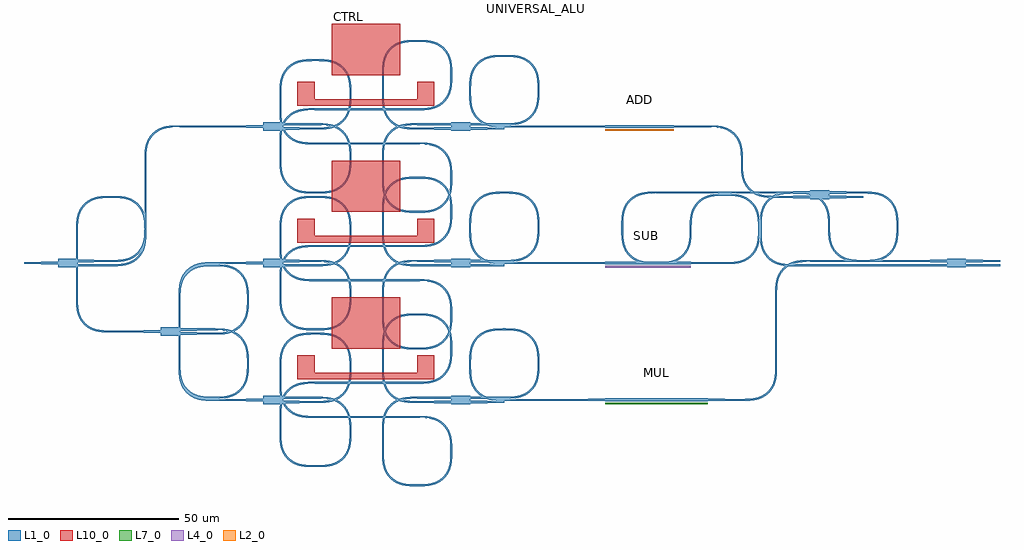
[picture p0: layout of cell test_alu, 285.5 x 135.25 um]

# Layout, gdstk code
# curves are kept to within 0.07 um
from math import pi, radians
import gdstk
lib = gdstk.Library(unit=1e-6, precision=1e-09)
def R(c, l, rs):  # rectangles x0, y0, x1, y1
    for r in rs: c.add(gdstk.rectangle(r[:2], r[2:], *l))
def A(c, l, x, y, w, h, nx, ny, dx, dy):  # array of equal rectangles
    R(c, l, [(x+i*dx, y+j*dy, x+i*dx+w, y+j*dy+h) for i in range(nx) for j in range(ny)])
def P(c, l, *ps):  # polygons
    for p in ps: c.add(gdstk.Polygon(p, *l))
L1_0 = (1, 0)
L2_0 = (2, 0)
L4_0 = (4, 0)
L7_0 = (7, 0)
L10_0 = (10, 0)

mmi1x2_gdsfactorypcompon = lib.new_cell('mmi1x2_gdsfactorypcomponentspmmispmmi1x2_WNone_WT1_LT10_1f097353')
P(mmi1x2_gdsfactorypcompon, L1_0, [(0,-1.25),(0,-0.5),(-10,-0.25),(-10,0.25),(0,0.5),(0,1.25),(5.5,1.25),(5.5,1.125),(15.5,0.875),(15.5,0.375),(5.5,0.125),(5.5,-0.125),(15.5,-0.375),(15.5,-0.875),(5.5,-1.125),(5.5,-1.25)])

straight_gdsfactorypcomp = lib.new_cell('straight_gdsfactorypcomponentspwaveguidespstraight_L30__23ab0482')
R(straight_gdsfactorypcomp, L1_0, [(0,-0.25,30,0.25)])

mmi2x2_gdsfactorypcompon = lib.new_cell('mmi2x2_gdsfactorypcomponentspmmispmmi2x2_WNone_WT1_LT10_d84946bc')
P(mmi2x2_gdsfactorypcompon, L1_0, [(0,-1.25),(0,-1.125),(-10,-0.875),(-10,-0.375),(0,-0.125),(0,0.125),(-10,0.375),(-10,0.875),(0,1.125),(0,1.25),(5.5,1.25),(5.5,1.125),(15.5,0.875),(15.5,0.375),(5.5,0.125),(5.5,-0.125),(15.5,-0.375),(15.5,-0.875),(5.5,-1.125),(5.5,-1.25)])

bend_euler_gdsfactorypco = lib.new_cell('bend_euler_gdsfactorypcomponentspbendspbend_euler_R10_A_335c8724')
P(bend_euler_gdsfactorypco, L1_0, [(0,-0.25),(0,0.25),(2.881,0.353),(3.952,0.52),(4.99,0.806),(6.431,1.505),(7.575,2.425),(8.495,3.569),(9.194,5.01),(9.48,6.048),(9.647,7.119),(9.75,10),(10.25,10),(10.158,7.205),(9.797,5.254),(9.457,4.312),(9.066,3.545),(8.5,2.715),(7.928,2.072),(7.285,1.5),(6.455,0.934),(5.688,0.543),(4.746,0.203),(2.795,-0.158)])

c_straight_gdsfactorypcomp = lib.new_cell('straight_gdsfactorypcomponentspwaveguidespstraight_L0p5_446aefb6')
R(c_straight_gdsfactorypcomp, L1_0, [(0,-0.25,0.5,0.25)])

c_straight_gdsfactorypcomp_ = lib.new_cell('straight_gdsfactorypcomponentspwaveguidespstraight_L4p3_94881c7f')
R(c_straight_gdsfactorypcomp_, L1_0, [(0,-0.25,4.375,0.25)])

c_straight_gdsfactorypcomp__ = lib.new_cell('straight_gdsfactorypcomponentspwaveguidespstraight_L5p6_c0f6b6dc')
R(c_straight_gdsfactorypcomp__, L1_0, [(0,-0.25,5.625,0.25)])

mzi_add = lib.new_cell('mzi_add')
R(mzi_add, L10_0, [(10,6,15,13), (15,6,45,8), (45,6,50,13)])
mzi_add.add(gdstk.Reference(mmi1x2_gdsfactorypcompon, (0,0)))
mzi_add.add(gdstk.Reference(straight_gdsfactorypcomp, (15,5)))
mzi_add.add(gdstk.Reference(straight_gdsfactorypcomp, (15,-5)))
mzi_add.add(gdstk.Reference(mmi2x2_gdsfactorypcompon, (55,0)))
mzi_add.add(gdstk.Reference(bend_euler_gdsfactorypco, (25.5,-9.375), rotation=pi/2))
mzi_add.add(gdstk.Reference(bend_euler_gdsfactorypco, (15.5,-19.375)))
mzi_add.add(gdstk.Reference(bend_euler_gdsfactorypco, (5,-9.375), rotation=3*pi/2))
mzi_add.add(gdstk.Reference(c_straight_gdsfactorypcomp, (15.5,-19.375), rotation=pi))
mzi_add.add(gdstk.Reference(bend_euler_gdsfactorypco, (15,5), rotation=pi))
mzi_add.add(gdstk.Reference(c_straight_gdsfactorypcomp_, (5,-9.375), rotation=pi/2))
mzi_add.add(gdstk.Reference(bend_euler_gdsfactorypco, (25.5,9.375), rotation=3*pi/2, x_reflection=True))
mzi_add.add(gdstk.Reference(bend_euler_gdsfactorypco, (15.5,19.375), x_reflection=True))
mzi_add.add(gdstk.Reference(bend_euler_gdsfactorypco, (5,9.375), rotation=pi/2, x_reflection=True))
mzi_add.add(gdstk.Reference(c_straight_gdsfactorypcomp, (15.5,19.375), rotation=pi))
mzi_add.add(gdstk.Reference(bend_euler_gdsfactorypco, (15,-5), rotation=pi, x_reflection=True))
mzi_add.add(gdstk.Reference(c_straight_gdsfactorypcomp_, (5,9.375), rotation=3*pi/2))
mzi_add.add(gdstk.Reference(bend_euler_gdsfactorypco, (55,15), rotation=3*pi/2, x_reflection=True))
mzi_add.add(gdstk.Reference(bend_euler_gdsfactorypco, (45,25), x_reflection=True))
mzi_add.add(gdstk.Reference(bend_euler_gdsfactorypco, (35,15), rotation=pi/2, x_reflection=True))
mzi_add.add(gdstk.Reference(bend_euler_gdsfactorypco, (45,-0.625), rotation=pi, x_reflection=True))
mzi_add.add(gdstk.Reference(c_straight_gdsfactorypcomp__, (35,15), rotation=3*pi/2))
mzi_add.add(gdstk.Reference(bend_euler_gdsfactorypco, (55,-15), rotation=pi/2))
mzi_add.add(gdstk.Reference(bend_euler_gdsfactorypco, (45,-25)))
mzi_add.add(gdstk.Reference(bend_euler_gdsfactorypco, (35,-15), rotation=3*pi/2))
mzi_add.add(gdstk.Reference(bend_euler_gdsfactorypco, (45,0.625), rotation=pi))
mzi_add.add(gdstk.Reference(c_straight_gdsfactorypcomp__, (35,-15), rotation=pi/2))
mzi_add.add(gdstk.Label('MZI', (25,15), layer=100, texttype=0))
mzi_add.add(gdstk.Label('HTR', (30,10), layer=100, texttype=0))

mzi_sub = lib.new_cell('mzi_sub')
R(mzi_sub, L10_0, [(10,6,15,13), (15,6,45,8), (45,6,50,13)])
mzi_sub.add(gdstk.Reference(mmi1x2_gdsfactorypcompon, (0,0)))
mzi_sub.add(gdstk.Reference(straight_gdsfactorypcomp, (15,5)))
mzi_sub.add(gdstk.Reference(straight_gdsfactorypcomp, (15,-5)))
mzi_sub.add(gdstk.Reference(mmi2x2_gdsfactorypcompon, (55,0)))
mzi_sub.add(gdstk.Reference(bend_euler_gdsfactorypco, (25.5,-9.375), rotation=pi/2))
mzi_sub.add(gdstk.Reference(bend_euler_gdsfactorypco, (15.5,-19.375)))
mzi_sub.add(gdstk.Reference(bend_euler_gdsfactorypco, (5,-9.375), rotation=3*pi/2))
mzi_sub.add(gdstk.Reference(c_straight_gdsfactorypcomp, (15.5,-19.375), rotation=pi))
mzi_sub.add(gdstk.Reference(bend_euler_gdsfactorypco, (15,5), rotation=pi))
mzi_sub.add(gdstk.Reference(c_straight_gdsfactorypcomp_, (5,-9.375), rotation=pi/2))
mzi_sub.add(gdstk.Reference(bend_euler_gdsfactorypco, (25.5,9.375), rotation=3*pi/2, x_reflection=True))
mzi_sub.add(gdstk.Reference(bend_euler_gdsfactorypco, (15.5,19.375), x_reflection=True))
mzi_sub.add(gdstk.Reference(bend_euler_gdsfactorypco, (5,9.375), rotation=pi/2, x_reflection=True))
mzi_sub.add(gdstk.Reference(c_straight_gdsfactorypcomp, (15.5,19.375), rotation=pi))
mzi_sub.add(gdstk.Reference(bend_euler_gdsfactorypco, (15,-5), rotation=pi, x_reflection=True))
mzi_sub.add(gdstk.Reference(c_straight_gdsfactorypcomp_, (5,9.375), rotation=3*pi/2))
mzi_sub.add(gdstk.Reference(bend_euler_gdsfactorypco, (55,15), rotation=3*pi/2, x_reflection=True))
mzi_sub.add(gdstk.Reference(bend_euler_gdsfactorypco, (45,25), x_reflection=True))
mzi_sub.add(gdstk.Reference(bend_euler_gdsfactorypco, (35,15), rotation=pi/2, x_reflection=True))
mzi_sub.add(gdstk.Reference(bend_euler_gdsfactorypco, (45,-0.625), rotation=pi, x_reflection=True))
mzi_sub.add(gdstk.Reference(c_straight_gdsfactorypcomp__, (35,15), rotation=3*pi/2))
mzi_sub.add(gdstk.Reference(bend_euler_gdsfactorypco, (55,-15), rotation=pi/2))
mzi_sub.add(gdstk.Reference(bend_euler_gdsfactorypco, (45,-25)))
mzi_sub.add(gdstk.Reference(bend_euler_gdsfactorypco, (35,-15), rotation=3*pi/2))
mzi_sub.add(gdstk.Reference(bend_euler_gdsfactorypco, (45,0.625), rotation=pi))
mzi_sub.add(gdstk.Reference(c_straight_gdsfactorypcomp__, (35,-15), rotation=pi/2))
mzi_sub.add(gdstk.Label('MZI', (25,15), layer=100, texttype=0))
mzi_sub.add(gdstk.Label('HTR', (30,10), layer=100, texttype=0))

mzi_mul = lib.new_cell('mzi_mul')
R(mzi_mul, L10_0, [(10,6,15,13), (15,6,45,8), (45,6,50,13)])
mzi_mul.add(gdstk.Reference(mmi1x2_gdsfactorypcompon, (0,0)))
mzi_mul.add(gdstk.Reference(straight_gdsfactorypcomp, (15,5)))
mzi_mul.add(gdstk.Reference(straight_gdsfactorypcomp, (15,-5)))
mzi_mul.add(gdstk.Reference(mmi2x2_gdsfactorypcompon, (55,0)))
mzi_mul.add(gdstk.Reference(bend_euler_gdsfactorypco, (25.5,-9.375), rotation=pi/2))
mzi_mul.add(gdstk.Reference(bend_euler_gdsfactorypco, (15.5,-19.375)))
mzi_mul.add(gdstk.Reference(bend_euler_gdsfactorypco, (5,-9.375), rotation=3*pi/2))
mzi_mul.add(gdstk.Reference(c_straight_gdsfactorypcomp, (15.5,-19.375), rotation=pi))
mzi_mul.add(gdstk.Reference(bend_euler_gdsfactorypco, (15,5), rotation=pi))
mzi_mul.add(gdstk.Reference(c_straight_gdsfactorypcomp_, (5,-9.375), rotation=pi/2))
mzi_mul.add(gdstk.Reference(bend_euler_gdsfactorypco, (25.5,9.375), rotation=3*pi/2, x_reflection=True))
mzi_mul.add(gdstk.Reference(bend_euler_gdsfactorypco, (15.5,19.375), x_reflection=True))
mzi_mul.add(gdstk.Reference(bend_euler_gdsfactorypco, (5,9.375), rotation=pi/2, x_reflection=True))
mzi_mul.add(gdstk.Reference(c_straight_gdsfactorypcomp, (15.5,19.375), rotation=pi))
mzi_mul.add(gdstk.Reference(bend_euler_gdsfactorypco, (15,-5), rotation=pi, x_reflection=True))
mzi_mul.add(gdstk.Reference(c_straight_gdsfactorypcomp_, (5,9.375), rotation=3*pi/2))
mzi_mul.add(gdstk.Reference(bend_euler_gdsfactorypco, (55,15), rotation=3*pi/2, x_reflection=True))
mzi_mul.add(gdstk.Reference(bend_euler_gdsfactorypco, (45,25), x_reflection=True))
mzi_mul.add(gdstk.Reference(bend_euler_gdsfactorypco, (35,15), rotation=pi/2, x_reflection=True))
mzi_mul.add(gdstk.Reference(bend_euler_gdsfactorypco, (45,-0.625), rotation=pi, x_reflection=True))
mzi_mul.add(gdstk.Reference(c_straight_gdsfactorypcomp__, (35,15), rotation=3*pi/2))
mzi_mul.add(gdstk.Reference(bend_euler_gdsfactorypco, (55,-15), rotation=pi/2))
mzi_mul.add(gdstk.Reference(bend_euler_gdsfactorypco, (45,-25)))
mzi_mul.add(gdstk.Reference(bend_euler_gdsfactorypco, (35,-15), rotation=3*pi/2))
mzi_mul.add(gdstk.Reference(bend_euler_gdsfactorypco, (45,0.625), rotation=pi))
mzi_mul.add(gdstk.Reference(c_straight_gdsfactorypcomp__, (35,-15), rotation=pi/2))
mzi_mul.add(gdstk.Label('MZI', (25,15), layer=100, texttype=0))
mzi_mul.add(gdstk.Label('HTR', (30,10), layer=100, texttype=0))

c_straight_gdsfactorypcomp___ = lib.new_cell('straight_gdsfactorypcomponentspwaveguidespstraight_L20__67db74ca')
R(c_straight_gdsfactorypcomp___, L1_0, [(0,-0.4,20,0.4)])

sfg_add = lib.new_cell('sfg_add')
R(sfg_add, L2_0, [(0,-1.3,20,-0.8)])
sfg_add.add(gdstk.Reference(c_straight_gdsfactorypcomp___, (0,0)))
sfg_add.add(gdstk.Label('SFG', (10,-1.8), layer=100, texttype=0))

taper_gdsfactorypcompone = lib.new_cell('taper_gdsfactorypcomponentsptapersptaper_L10_W0p8_W0p5__da63ba57')
P(taper_gdsfactorypcompone, L1_0, [(0,-0.4),(0,0.4),(10,0.25),(10,-0.25)])

c_straight_gdsfactorypcomp____ = lib.new_cell('straight_gdsfactorypcomponentspwaveguidespstraight_L25__b8ee21e9')
R(c_straight_gdsfactorypcomp____, L1_0, [(0,-0.4,25,0.4)])

dfg_sub = lib.new_cell('dfg_sub')
R(dfg_sub, L4_0, [(0,-1.3,25,-0.8)])
dfg_sub.add(gdstk.Reference(c_straight_gdsfactorypcomp____, (0,0)))
dfg_sub.add(gdstk.Label('DFG', (12.5,-1.8), layer=100, texttype=0))

c_straight_gdsfactorypcomp_____ = lib.new_cell('straight_gdsfactorypcomponentspwaveguidespstraight_L30__ad10009a')
R(c_straight_gdsfactorypcomp_____, L1_0, [(0,-0.4,30,0.4)])

mul_mul = lib.new_cell('mul_mul')
R(mul_mul, L7_0, [(0,-1.3,30,-0.8)])
mul_mul.add(gdstk.Reference(c_straight_gdsfactorypcomp_____, (0,0)))
mul_mul.add(gdstk.Label('MUL', (15,-1.8), layer=100, texttype=0))

c_straight_gdsfactorypcomp______ = lib.new_cell('straight_gdsfactorypcomponentspwaveguidespstraight_L19p_8f351695')
R(c_straight_gdsfactorypcomp______, L1_0, [(0,-0.25,19.375,0.25)])

c_straight_gdsfactorypcomp_______ = lib.new_cell('straight_gdsfactorypcomponentspwaveguidespstraight_L4p5_be343a92')
R(c_straight_gdsfactorypcomp_______, L1_0, [(0,-0.25,4.5,0.25)])

c_straight_gdsfactorypcomp________ = lib.new_cell('straight_gdsfactorypcomponentspwaveguidespstraight_L14p_2ca56a52')
R(c_straight_gdsfactorypcomp________, L1_0, [(0,-0.25,14.5,0.25)])

c_straight_gdsfactorypcomp_________ = lib.new_cell('straight_gdsfactorypcomponentspwaveguidespstraight_L0p6_2a917248')
R(c_straight_gdsfactorypcomp_________, L1_0, [(0,-0.25,0.625,0.25)])

c_straight_gdsfactorypcomp__________ = lib.new_cell('straight_gdsfactorypcomponentspwaveguidespstraight_L19p_57e45757')
R(c_straight_gdsfactorypcomp__________, L1_0, [(0,-0.25,19.5,0.25)])

c_straight_gdsfactorypcomp___________ = lib.new_cell('straight_gdsfactorypcomponentspwaveguidespstraight_L35__2ffcf6d2')
R(c_straight_gdsfactorypcomp___________, L1_0, [(0,-0.25,35,0.25)])

c_straight_gdsfactorypcomp____________ = lib.new_cell('straight_gdsfactorypcomponentspwaveguidespstraight_L1p2_b215014a')
R(c_straight_gdsfactorypcomp____________, L1_0, [(0,-0.25,1.25,0.25)])

c_straight_gdsfactorypcomp_____________ = lib.new_cell('straight_gdsfactorypcomponentspwaveguidespstraight_L34p_65582a3e')
R(c_straight_gdsfactorypcomp_____________, L1_0, [(0,-0.25,34.5,0.25)])

c_straight_gdsfactorypcomp______________ = lib.new_cell('straight_gdsfactorypcomponentspwaveguidespstraight_L20p_7ec75a42')
R(c_straight_gdsfactorypcomp______________, L1_0, [(0,-0.25,20.625,0.25)])

c_straight_gdsfactorypcomp_______________ = lib.new_cell('straight_gdsfactorypcomponentspwaveguidespstraight_L30__a17b4e39')
R(c_straight_gdsfactorypcomp_______________, L1_0, [(0,-0.25,30,0.25)])

test_alu = lib.new_cell('test_alu')
A(test_alu, L10_0, 80, -25, 20, 15, 1, 3, 0, 40)
test_alu.add(gdstk.Reference(mmi1x2_gdsfactorypcompon, (0,0)))
test_alu.add(gdstk.Reference(mmi1x2_gdsfactorypcompon, (30,-20)))
test_alu.add(gdstk.Reference(mzi_add, (60,40)))
test_alu.add(gdstk.Reference(mzi_sub, (60,0)))
test_alu.add(gdstk.Reference(mzi_mul, (60,-40)))
test_alu.add(gdstk.Reference(sfg_add, (160,40)))
test_alu.add(gdstk.Reference(taper_gdsfactorypcompone, (160,40), rotation=pi))
test_alu.add(gdstk.Reference(dfg_sub, (160,0)))
test_alu.add(gdstk.Reference(taper_gdsfactorypcompone, (160,0), rotation=pi))
test_alu.add(gdstk.Reference(mul_mul, (160,-40)))
test_alu.add(gdstk.Reference(taper_gdsfactorypcompone, (160,-40), rotation=pi))
test_alu.add(gdstk.Reference(mmi2x2_gdsfactorypcompon, (220,20)))
test_alu.add(gdstk.Reference(mmi2x2_gdsfactorypcompon, (260,0)))
test_alu.add(gdstk.Reference(taper_gdsfactorypcompone, (180,40)))
test_alu.add(gdstk.Reference(taper_gdsfactorypcompone, (185,0)))
test_alu.add(gdstk.Reference(taper_gdsfactorypcompone, (190,-40)))
test_alu.add(gdstk.Reference(bend_euler_gdsfactorypco, (25.5,9.375), rotation=3*pi/2, x_reflection=True))
test_alu.add(gdstk.Reference(bend_euler_gdsfactorypco, (15.5,19.375), x_reflection=True))
test_alu.add(gdstk.Reference(bend_euler_gdsfactorypco, (5.5,9.375), rotation=pi/2, x_reflection=True))
test_alu.add(gdstk.Reference(bend_euler_gdsfactorypco, (15.5,-20), rotation=pi, x_reflection=True))
test_alu.add(gdstk.Reference(c_straight_gdsfactorypcomp______, (5.5,9.375), rotation=3*pi/2))
test_alu.add(gdstk.Reference(c_straight_gdsfactorypcomp_______, (15.5,-20)))
test_alu.add(gdstk.Reference(bend_euler_gdsfactorypco, (25.5,10.625), rotation=3*pi/2, x_reflection=True))
test_alu.add(gdstk.Reference(bend_euler_gdsfactorypco, (35.5,40), rotation=pi))
test_alu.add(gdstk.Reference(c_straight_gdsfactorypcomp______, (25.5,10.625), rotation=pi/2))
test_alu.add(gdstk.Reference(c_straight_gdsfactorypcomp________, (35.5,40)))
test_alu.add(gdstk.Reference(bend_euler_gdsfactorypco, (55.5,-29.375), rotation=pi/2))
test_alu.add(gdstk.Reference(bend_euler_gdsfactorypco, (45.5,-39.375)))
test_alu.add(gdstk.Reference(bend_euler_gdsfactorypco, (35.5,-29.375), rotation=3*pi/2))
test_alu.add(gdstk.Reference(bend_euler_gdsfactorypco, (45.5,0), rotation=pi))
test_alu.add(gdstk.Reference(c_straight_gdsfactorypcomp______, (35.5,-29.375), rotation=pi/2))
test_alu.add(gdstk.Reference(c_straight_gdsfactorypcomp_______, (45.5,0)))
test_alu.add(gdstk.Reference(bend_euler_gdsfactorypco, (55.5,-10.625), rotation=3*pi/2, x_reflection=True))
test_alu.add(gdstk.Reference(bend_euler_gdsfactorypco, (45.5,-0.625), x_reflection=True))
test_alu.add(gdstk.Reference(bend_euler_gdsfactorypco, (35.5,-10.625), rotation=pi/2, x_reflection=True))
test_alu.add(gdstk.Reference(bend_euler_gdsfactorypco, (45.5,-40), rotation=pi, x_reflection=True))
test_alu.add(gdstk.Reference(c_straight_gdsfactorypcomp______, (35.5,-10.625), rotation=3*pi/2))
test_alu.add(gdstk.Reference(c_straight_gdsfactorypcomp_______, (45.5,-40)))
test_alu.add(gdstk.Reference(bend_euler_gdsfactorypco, (140.5,50.625), rotation=3*pi/2, x_reflection=True))
test_alu.add(gdstk.Reference(bend_euler_gdsfactorypco, (130.5,60.625), x_reflection=True))
test_alu.add(gdstk.Reference(bend_euler_gdsfactorypco, (120.5,50.625), rotation=pi/2, x_reflection=True))
test_alu.add(gdstk.Reference(bend_euler_gdsfactorypco, (130.5,40), rotation=pi, x_reflection=True))
test_alu.add(gdstk.Reference(c_straight_gdsfactorypcomp_________, (120.5,50.625), rotation=3*pi/2))
test_alu.add(gdstk.Reference(c_straight_gdsfactorypcomp__________, (130.5,40)))
test_alu.add(gdstk.Reference(bend_euler_gdsfactorypco, (140.5,10.625), rotation=3*pi/2, x_reflection=True))
test_alu.add(gdstk.Reference(bend_euler_gdsfactorypco, (130.5,20.625), x_reflection=True))
test_alu.add(gdstk.Reference(bend_euler_gdsfactorypco, (120.5,10.625), rotation=pi/2, x_reflection=True))
test_alu.add(gdstk.Reference(bend_euler_gdsfactorypco, (130.5,0), rotation=pi, x_reflection=True))
test_alu.add(gdstk.Reference(c_straight_gdsfactorypcomp_________, (120.5,10.625), rotation=3*pi/2))
test_alu.add(gdstk.Reference(c_straight_gdsfactorypcomp__________, (130.5,0)))
test_alu.add(gdstk.Reference(bend_euler_gdsfactorypco, (140.5,-29.375), rotation=3*pi/2, x_reflection=True))
test_alu.add(gdstk.Reference(bend_euler_gdsfactorypco, (130.5,-19.375), x_reflection=True))
test_alu.add(gdstk.Reference(bend_euler_gdsfactorypco, (120.5,-29.375), rotation=pi/2, x_reflection=True))
test_alu.add(gdstk.Reference(bend_euler_gdsfactorypco, (130.5,-40), rotation=pi, x_reflection=True))
test_alu.add(gdstk.Reference(c_straight_gdsfactorypcomp_________, (120.5,-29.375), rotation=3*pi/2))
test_alu.add(gdstk.Reference(c_straight_gdsfactorypcomp__________, (130.5,-40)))
test_alu.add(gdstk.Reference(bend_euler_gdsfactorypco, (200,30), rotation=pi/2))
test_alu.add(gdstk.Reference(bend_euler_gdsfactorypco, (210,19.375), rotation=pi, x_reflection=True))
test_alu.add(gdstk.Reference(c_straight_gdsfactorypcomp_________, (200,30), rotation=3*pi/2))
test_alu.add(gdstk.Reference(bend_euler_gdsfactorypco, (205,10), rotation=3*pi/2, x_reflection=True))
test_alu.add(gdstk.Reference(bend_euler_gdsfactorypco, (195,20), x_reflection=True))
test_alu.add(gdstk.Reference(bend_euler_gdsfactorypco, (185,10), rotation=pi/2, x_reflection=True))
test_alu.add(gdstk.Reference(bend_euler_gdsfactorypco, (175,0)))
test_alu.add(gdstk.Reference(bend_euler_gdsfactorypco, (165,10), rotation=3*pi/2))
test_alu.add(gdstk.Reference(bend_euler_gdsfactorypco, (175,20.625), rotation=pi))
test_alu.add(gdstk.Reference(c_straight_gdsfactorypcomp_________, (165,10), rotation=pi/2))
test_alu.add(gdstk.Reference(c_straight_gdsfactorypcomp___________, (175,20.625)))
test_alu.add(gdstk.Reference(bend_euler_gdsfactorypco, (245.5,10.625), rotation=pi/2))
test_alu.add(gdstk.Reference(bend_euler_gdsfactorypco, (235.5,0.625)))
test_alu.add(gdstk.Reference(bend_euler_gdsfactorypco, (225.5,10.625), rotation=3*pi/2))
test_alu.add(gdstk.Reference(bend_euler_gdsfactorypco, (215.5,20.625), x_reflection=True))
test_alu.add(gdstk.Reference(bend_euler_gdsfactorypco, (205.5,10.625), rotation=pi/2, x_reflection=True))
test_alu.add(gdstk.Reference(bend_euler_gdsfactorypco, (215.5,-0.625), rotation=pi, x_reflection=True))
test_alu.add(gdstk.Reference(c_straight_gdsfactorypcomp____________, (205.5,10.625), rotation=3*pi/2))
test_alu.add(gdstk.Reference(c_straight_gdsfactorypcomp_____________, (215.5,-0.625)))
test_alu.add(gdstk.Reference(bend_euler_gdsfactorypco, (210,-30), rotation=3*pi/2, x_reflection=True))
test_alu.add(gdstk.Reference(bend_euler_gdsfactorypco, (220,0.625), rotation=pi))
test_alu.add(gdstk.Reference(c_straight_gdsfactorypcomp______________, (210,-30), rotation=pi/2))
test_alu.add(gdstk.Reference(c_straight_gdsfactorypcomp_______________, (220,0.625)))
test_alu.add(gdstk.Label('UNIVERSAL_ALU', (140,75), layer=100, texttype=0))
test_alu.add(gdstk.Label('ADD', (170,48), layer=100, texttype=0))
test_alu.add(gdstk.Label('SUB', (172,8), layer=100, texttype=0))
test_alu.add(gdstk.Label('MUL', (175,-32), layer=100, texttype=0))
test_alu.add(gdstk.Label('CTRL', (85,72), layer=100, texttype=0))

lib.write_gds('test_alu.gds')
